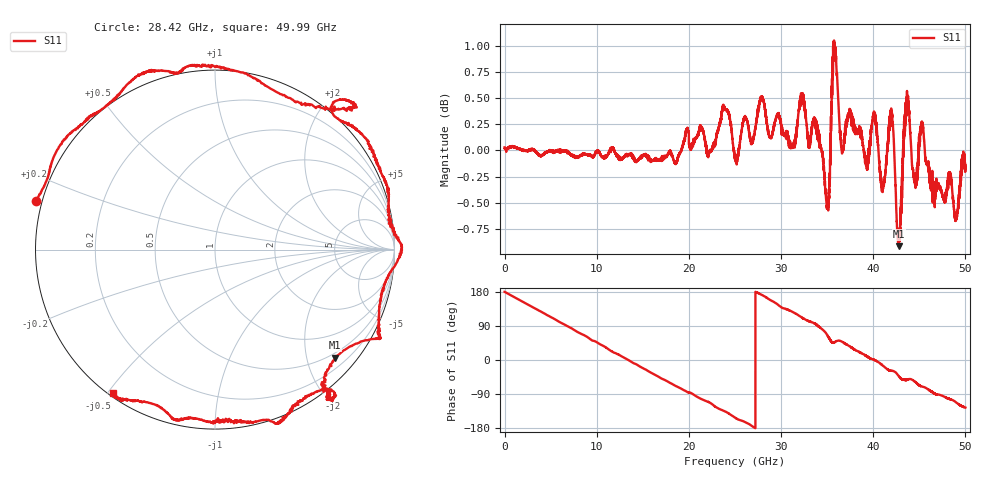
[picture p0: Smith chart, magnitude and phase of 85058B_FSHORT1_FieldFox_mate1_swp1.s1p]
!Created with skrf (http://scikit-rf.org).
# Hz S RI R 50.0
!freq ReS11 ImS11
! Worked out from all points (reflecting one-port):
!   10000 points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, 5.3 MHz to 50 GHz, reference 50 ohm
!   lowest |S11| = -0.9 dB at 42.75 GHz (marker M1), VSWR 18.97, Z = 20.1 - j128 ohm
!   phase of S11 starts at 180 deg and turns -665 deg over the sweep
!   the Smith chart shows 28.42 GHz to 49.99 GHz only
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5299970  -1.003 0.000791
2.855283e9  -0.7877 0.6162
6.255262e9  -0.1161 0.9927
8.895247e9  0.4669 0.8791
1.137023e10  0.8918 0.4496
1.250522e10  0.967 0.2122
1.532021e10  0.9 -0.425
1.875519e10  0.3281 -0.9336
2.151017e10  -0.2625 -0.988
2.386516e10  -0.7406 -0.7403
2.500515e10  -0.8782 -0.4643
2.795013e10  -1.048 0.1603
2.995512e10  -0.798 0.6578
3.125511e10  -0.6028 0.805
3.229011e10  -0.3901 0.9883
3.37751e10  -0.0833 1.023
3.478509e10  0.2719 0.9215
3.563009e10  0.7551 0.7865
3.648008e10  0.6503 0.771
3.750507e10  0.8546 0.6011
4.017506e10  1.035 -0.00852
4.208005e10  0.905 -0.493
4.275004e10  0.6688 -0.602
4.375504e10  0.6563 -0.8221
4.436003e10  0.5723 -0.79
4.528003e10  0.3561 -0.9645
4.703002e10  -0.0159 -0.9619
5e10  -0.5707 -0.7989
